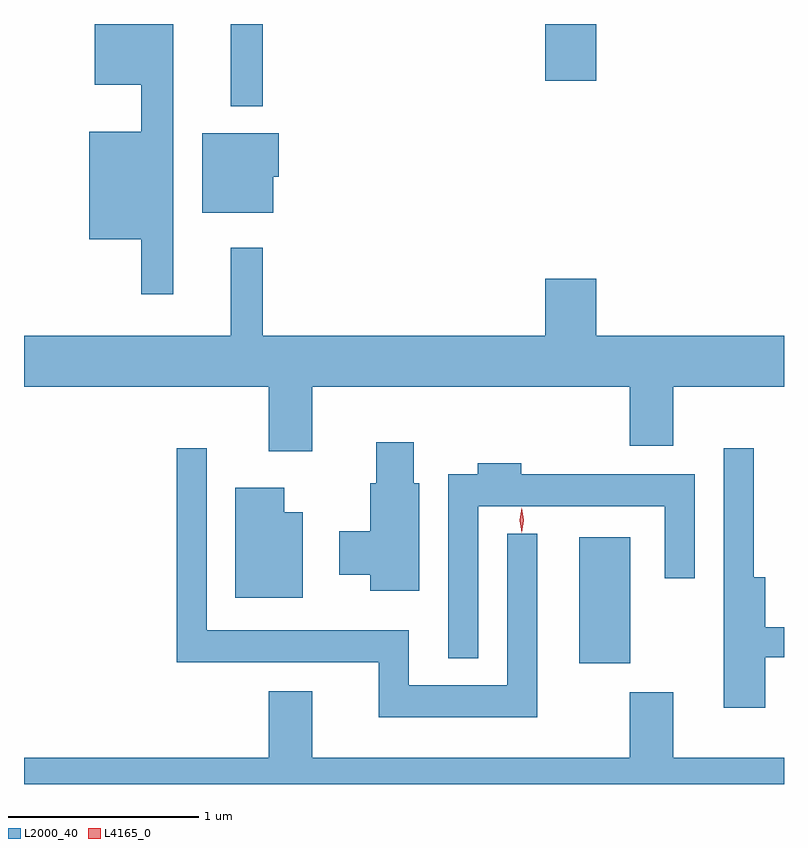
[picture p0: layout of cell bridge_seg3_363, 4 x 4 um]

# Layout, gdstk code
import gdstk
lib = gdstk.Library(unit=1e-6, precision=1e-09)
def R(c, l, rs):  # rectangles x0, y0, x1, y1
    for r in rs: c.add(gdstk.rectangle(r[:2], r[2:], *l))
def P(c, l, *ps):  # polygons
    for p in ps: c.add(gdstk.Polygon(p, *l))
L2000_40 = (2000, 40)
L4165_0 = (4165, 0)

bridge_seg3_363 = lib.new_cell('bridge_seg3_363')
R(bridge_seg3_363, L2000_40, [(694.776,1124.561,695.044,1125.224), (692.941,1127.493,693.109,1127.925), (694.596,1127.626,694.864,1127.925)])
P(bridge_seg3_363, L2000_40, [(692.639,1127.925),(692.226,1127.925),(692.226,1127.606),(692.471,1127.606),(692.471,1127.359),(692.196,1127.359),(692.196,1126.791),(692.471,1126.791),(692.471,1126.503),(692.639,1126.503)],
  [(693.164,1127.121),(693.194,1127.121),(693.194,1127.349),(692.791,1127.349),(692.791,1126.931),(693.164,1126.931)],
  [(693.369,1126.016),(695.041,1126.016),(695.041,1125.706),(695.269,1125.706),(695.269,1126.016),(695.853,1126.016),(695.853,1126.284),(694.864,1126.284),(694.864,1126.584),(694.596,1126.584),(694.596,1126.284),(693.109,1126.284),(693.109,1126.748),(692.941,1126.748),(692.941,1126.284),(691.853,1126.284),(691.853,1126.016),(693.141,1126.016),(693.141,1125.676),(693.369,1125.676)],
  [(693.934,1125.509),(693.904,1125.509),(693.904,1125.724),(693.706,1125.724),(693.706,1125.509),(693.676,1125.509),(693.676,1125.254),(693.511,1125.254),(693.511,1125.026),(693.676,1125.026),(693.676,1124.941),(693.934,1124.941)],
  [(694.554,1125.243),(694.396,1125.243),(694.396,1124.444),(693.879,1124.444),(693.879,1124.734),(692.814,1124.734),(692.814,1125.693),(692.656,1125.693),(692.656,1124.566),(693.721,1124.566),(693.721,1124.276),(694.554,1124.276)],
  [(695.754,1124.591),(695.853,1124.591),(695.853,1124.749),(695.754,1124.749),(695.754,1125.014),(695.694,1125.014),(695.694,1125.693),(695.536,1125.693),(695.536,1124.326),(695.754,1124.326)],
  [(694.244,1125.386),(695.226,1125.386),(695.226,1125.008),(695.384,1125.008),(695.384,1125.554),(694.469,1125.554),(694.469,1125.614),(694.241,1125.614),(694.241,1125.554),(694.086,1125.554),(694.086,1124.588),(694.244,1124.588)],
  [(693.319,1125.354),(693.224,1125.354),(693.224,1125.484),(692.966,1125.484),(692.966,1124.906),(693.319,1124.906)],
  [(695.853,1124.064),(695.269,1124.064),(695.269,1124.409),(695.041,1124.409),(695.041,1124.064),(693.369,1124.064),(693.369,1124.414),(693.141,1124.414),(693.141,1124.064),(691.853,1124.064),(691.853,1123.925),(695.853,1123.925)])
P(bridge_seg3_363, L4165_0, [(694.473,1125.247),(694.463,1125.314),(694.472,1125.38),(694.473,1125.38),(694.474,1125.38),(694.483,1125.314),(694.474,1125.247),(694.474,1125.247)])

lib.write_gds('bridge_seg3_363.gds')
